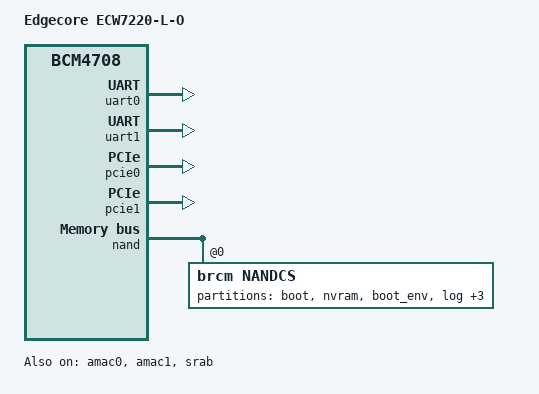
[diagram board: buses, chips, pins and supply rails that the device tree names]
/*
 * Broadcom BCM470X / BCM5301X ARM platform code.
 * DTS for Edgecore ECW7220-L (outdoor) wifi access point
 *
 * Copyright (C) 2017 Abylay Ospan <aospan@jokersys.com>
 *
 * Licensed under the GNU/GPL. See COPYING for details.
 */

/dts-v1/;

#include "bcm-nsp.dtsi"

/ {
	compatible = "edgecore,ecw7220-l-o", "brcm,nsp";
	model = "Edgecore ECW7220-L-O";

	aliases {
		serial0 = &uart0;
		serial1 = &uart1;
	};

	chosen {
		stdout-path = "serial0:115200n8";
		bootargs = "mem=128M console=ttyS0,115200 init=/sbin/init debug ubi.mtd=6 root=/dev/ubiblock0_0 rootfstype=squashfs pci=pcie_bus_safe";
	};

	/* memory {
    reg = <0x60000000 0x08000000>;
	}; */
};

&uart0 {
	status = "okay";
};

&uart1 {
	status = "okay";
};

&pcie0 {
          status = "okay";
};

&pcie1 {
          status = "okay";
};

&amac0 {
	status = "okay";
};


&amac1 {
	status = "okay";
};


&srab {
	compatible = "brcm,bcm58625-srab", "brcm,nsp-srab";
	status = "okay";

	ports {
		#address-cells = <1>;
		#size-cells = <0>;

		port@0 {
			label = "port0";
			reg = <0>;
		};

		port@1 {
			label = "port1";
			reg = <1>;
		};

		port@2 {
			label = "port2";
			reg = <2>;
		};

		port@3 {
			label = "port3";
			reg = <3>;
		};

		port@4 {
			label = "port4";
			reg = <4>;
		};

		port@5 {
			ethernet = <&amac0>;
			label = "cpu";
			reg = <5>;
			fixed-link {
				speed = <1000>;
				full-duplex;
			};
		};
	};
};

/* TODO: check ECC parameters
 * move to separate file
*/
&nand { 
	nandcs@0 {
		compatible = "brcm,nandcs";
		reg = <0>;
		#address-cells = <1>;
		#size-cells = <1>;

		nand-ecc-algo = "bch";
		nand-ecc-strength = <1>;
		nand-ecc-step-size = <512>;

    /* Outdoor version has 512MB nand */
		partition@0 {
			label = "boot";
			reg = <0x00000000 0x100000>;
			read-only;
		};
		partition@1 {
			label = "nvram";
			reg = <0x00100000 0x00020000>;
		};
		partition@2 {
			label = "boot_env";
			reg = <0x00120000 0x00020000>;
		};
		partition@3 {
			label = "log";
			reg = <0x00140000 0x00040000>;
		};
		partition@4 {
			label = "onie";
			reg = <0x00180000 0x00280000>;
		};

		partition@5 {
			label = "open";
			reg = <0x00400000 0x1B700000>;
		};
		partition@6 {
			label = "ubi_rootfs";
			reg = <0x00800000 0x1B200000>;
		};
	};
};
